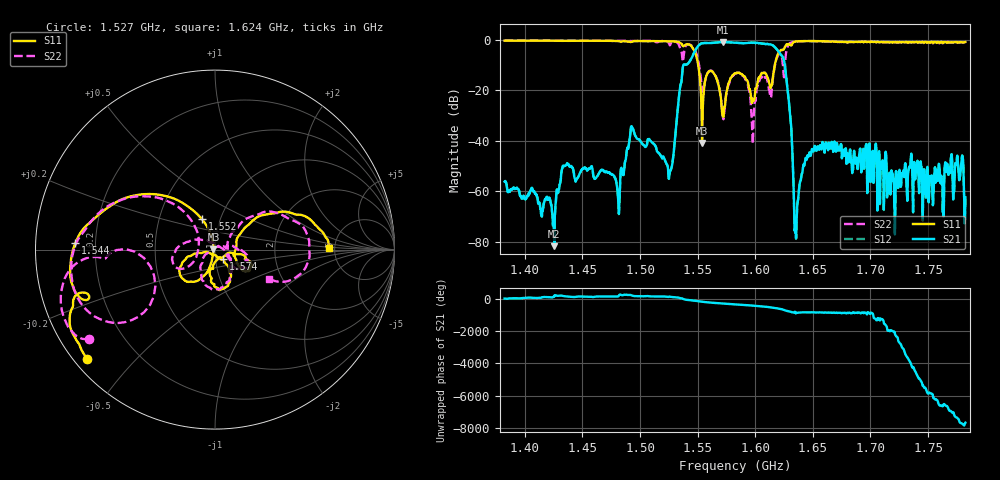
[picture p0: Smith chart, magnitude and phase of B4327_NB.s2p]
! Matrix data file written by TouchstoneData, EPCOS AG
! FILENAME: "B4327_01_NB.snp"
! COMMENT: "(B4327_01_NB.s2p) Epcos AG 5/16/2013 2:20:38"
! INFO: nport=2, nfreq=2001
! DATE: "Thu May 23 14:27:32 2013"
! USER: "Rosemary Xue"
! port | pin | signal
!  1  |  1  |  IN
!  2  |  4  |  OUT
# MHZ S RI R 50
! freq  reS11 imS11  reS21 imS21  reS12 imS12  reS22 imS22
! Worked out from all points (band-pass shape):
!   2001 points, 1.382 GHz to 1.782 GHz, reference 50 ohm
!   highest |S21| = -0.86 dB at 1.572 GHz (marker M1); lowest = -81.8 dB at 1.426 GHz (marker M2)
!   |S21| within 3 dB of the highest: 1.548 GHz to 1.619 GHz (70.58 MHz wide, 4.46 % of centre)
!   lowest |S11| = -40.8 dB at 1.554 GHz (marker M3), VSWR 1.02, Z = 49.1 + j0.245 ohm
!   |S11| at or under -10 dB: 1.55 GHz to 1.617 GHz (66.47 MHz wide, 4.2 % of centre)
!   |S22| runs from -41.3 to -0.2 dB; largest |S21 - S12| = 0.0015
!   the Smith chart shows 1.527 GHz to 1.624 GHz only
!   S11 on the Smith chart (normalised r, x): 1.527 GHz: 0.04, -0.37; 1.544 GHz: 0.12, +0.02; 1.552 GHz: 0.82, +0.29; 1.574 GHz: 1.09, -0.11; 1.624 GHz: 4.47, +0.13
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1382.4  -0.0446 -0.9632  0.00153 0.000256  0.00152 0.000282  -0.1165 -0.9649
1425.6  -0.141 -0.9483  -8.09e-05 1.08e-05  -8.57e-05 -3.3e-06  -0.2169 -0.939
1433.6  -0.1589 -0.9436  -0.003 0.00107  -0.00303 0.00107  -0.2387 -0.9364
1449.2  -0.2052 -0.9368  -0.00196 0.00182  -0.00197 0.00179  -0.2887 -0.9149
1480.8  -0.3455 -0.8818  -0.000627 0.000464  -0.000591 0.000478  -0.4204 -0.8654
1515.8  -0.5717 -0.7544  -0.00423 0.00395  -0.00424 0.00395  -0.6307 -0.6564
1526.8  -0.7129 -0.6088  -0.00105 0.00252  -0.00104 0.00255  -0.7026 -0.5006
1536.4  -0.768 -0.2487  0.1895 0.0749  0.1894 0.0748  -0.499 0.00268
1543.8  -0.7782 0.0361  -0.0316 -0.3983  -0.0317 -0.3985  -0.795 -0.036
1551.8  -0.073 0.1697  -0.79 -0.1858  -0.7901 -0.1856  -0.1621 0.1998
1553.8  -0.00874 0.00249  -0.8507 0.0939  -0.851 0.095  -0.0898 0.0493
1561.8  -0.1908 -0.1488  -0.3918 0.7725  -0.3911 0.7723  -0.2382 -0.0613
1571.8  -0.0163 -0.0263  0.421 0.8019  0.4212 0.8015  0.000568 0.0307
1574.2  0.0437 -0.051  0.5769 0.6882  0.577 0.688  0.0654 -0.0242
1582.4  0.0622 -0.2081  0.8647 0.1516  0.8655 0.1509  0.0439 -0.2084
1600.4  0.1051 -0.0348  0.1532 -0.8504  0.1525 -0.8499  0.0657 0.0209
1612.8  0.1109 -0.0417  -0.7921 -0.1934  -0.7924 -0.1927  0.0752 -0.0278
1623.8  0.6349 0.00896  0.2675 0.3693  0.2677 0.3691  0.3026 -0.163
1635.2  0.828 -0.4259  -0.000143 2.6e-05  -0.000151 1.8e-05  0.8762 -0.3035
1649.2  0.6258 -0.7125  -0.00364 -0.00582  -0.00364 -0.00579  0.6627 -0.6669
1715.8  0.229 -0.8675  -0.000907 -0.000199  -0.000916 -0.000243  0.2255 -0.8778
1782.4  0.1439 -0.8921  -0.000172 -0.000737  -0.000165 -0.000718  0.0944 -0.887
